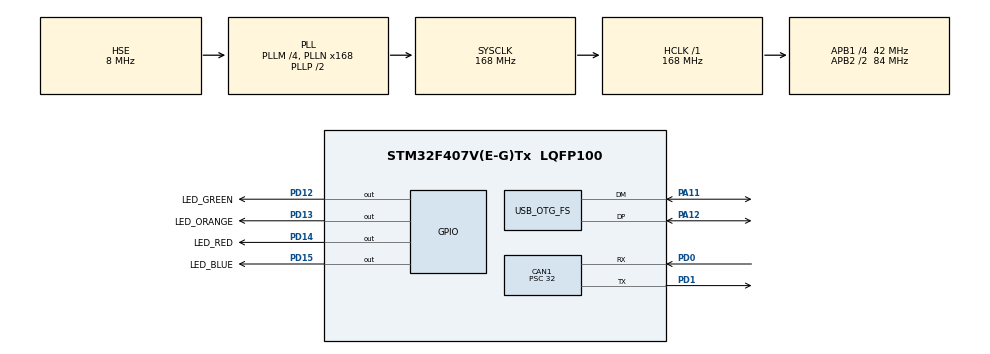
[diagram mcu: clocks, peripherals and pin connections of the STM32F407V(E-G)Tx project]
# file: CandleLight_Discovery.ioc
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CAN1.ABOM=ENABLE
CAN1.BS1=CAN_BS1_1TQ
CAN1.BS2=CAN_BS2_1TQ
CAN1.CalculateTimeQuantum=761.9047619047619
CAN1.Prescaler=32
CAN1.TXFP=ENABLE
Mcu.Family=STM32F4
Mcu.Name=STM32F407V(E-G)Tx
Mcu.Package=LQFP100
NVIC.CAN1_RX0_IRQn=true\:0\:0\:false\:false\:true\:true\:true
NVIC.CAN1_RX1_IRQn=true\:0\:0\:false\:false\:true\:true\:true
NVIC.CAN1_SCE_IRQn=true\:0\:0\:false\:false\:true\:true\:true
NVIC.CAN1_TX_IRQn=true\:0\:0\:false\:false\:true\:true\:true
NVIC.OTG_FS_IRQn=true\:0\:0\:false\:false\:true\:true\:true
NVIC.PriorityGroup=NVIC_PRIORITYGROUP_4
PA11.Mode=Device_Only
PA11.Signal=USB_OTG_FS_DM
PA12.Mode=Device_Only
PA12.Signal=USB_OTG_FS_DP
PA13.Mode=Serial_Wire
PA13.Signal=SYS_JTMS-SWDIO
PA14.Mode=Serial_Wire
PA14.Signal=SYS_JTCK-SWCLK
PD0.Mode=Master
PD0.Signal=CAN1_RX
PD1.Mode=Master
PD1.Signal=CAN1_TX
PD12.GPIO_Label=LED_GREEN
PD12.Signal=GPIO_Output
PD13.GPIO_Label=LED_ORANGE
PD13.Signal=GPIO_Output
PD14.GPIO_Label=LED_RED
PD14.Signal=GPIO_Output
PD15.GPIO_Label=LED_BLUE
PD15.Signal=GPIO_Output
PH0-OSC_IN.Mode=HSE-External-Oscillator
PH0-OSC_IN.Signal=RCC_OSC_IN
PH1-OSC_OUT.Mode=HSE-External-Oscillator
PH1-OSC_OUT.Signal=RCC_OSC_OUT
ProjectManager.HeapSize=0x0
ProjectManager.StackSize=0x800
ProjectManager.TargetToolchain=STM32CubeIDE
RCC.48MHZClocksFreq_Value=48000000
RCC.AHBFreq_Value=168000000
RCC.APB1CLKDivider=RCC_HCLK_DIV4
RCC.APB1Freq_Value=42000000
RCC.APB1TimFreq_Value=84000000
RCC.APB2CLKDivider=RCC_HCLK_DIV2
RCC.APB2Freq_Value=84000000
RCC.APB2TimFreq_Value=168000000
RCC.CortexFreq_Value=168000000
RCC.HCLKFreq_Value=168000000
RCC.HSE_VALUE=8000000
RCC.HSI_VALUE=16000000
RCC.LSE_VALUE=32768
RCC.PLLM=4
RCC.PLLN=168
RCC.PLLQ=7
RCC.SYSCLKFreq_VALUE=168000000
RCC.SYSCLKSource=RCC_SYSCLKSOURCE_PLLCLK
RCC.VCOOutputFreq_Value=336000000
TIM2.AutoReloadPreload=TIM_AUTORELOAD_PRELOAD_ENABLE
TIM2.Period=0
TIM2.Prescaler=83
USB_DEVICE.CLASS_NAME_FS=CDC
USB_DEVICE.USBD_SELF_POWERED-CDC_FS=0
USB_DEVICE.VirtualMode-CDC_FS=Cdc
USB_DEVICE.VirtualModeFS=Cdc_FS
USB_OTG_FS.VirtualMode=Device_Only
VP_TIM2_VS_ClockSourceINT.Mode=Internal
VP_USB_DEVICE_VS_USB_DEVICE_CDC_FS.Mode=CDC_FS
board=custom

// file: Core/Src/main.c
/* USER CODE BEGIN Header */
/**
  ******************************************************************************
  * @file           : main.c
  * @brief          : Main program body
  ******************************************************************************
  * @attention
  *
  * <h2><center>&copy; Copyright (c) 2020 STMicroelectronics.
  * All rights reserved.</center></h2>
  *
  * This software component is licensed by ST under BSD 3-Clause license,
  * the "License"; You may not use this file except in compliance with the
  * License. You may obtain a copy of the License at:
  *                        opensource.org/licenses/BSD-3-Clause
  *
  ******************************************************************************
  */
/* USER CODE END Header */
#include "main.h"
#include "can.h"
#include "tim.h"
#include "gpio.h"

/* USER CODE BEGIN Includes */
#include "usbd_def.h"
#include "usbd_desc.h"
#include "usbd_core.h"
#include "usbd_gs_can.h"
#include "queue.h"
#include "gs_usb.h"
#include "led.h"
/* USER CODE END Includes */

/* USER CODE BEGIN PD */
#define CAN_QUEUE_SIZE  64u
/* USER CODE END PD */

/* USER CODE BEGIN PV */
can_data_t hCAN;
USBD_HandleTypeDef hUSB;
led_data_t hLED;

queue_t *q_frame_pool;
queue_t *q_from_host;
queue_t *q_to_host;

uint32_t received_count=0;
/* USER CODE END PV */

void SystemClock_Config(void);
/* USER CODE BEGIN PFP */
static bool send_to_host_or_enqueue(struct gs_host_frame *frame);
static void send_to_host();

/* USER CODE END PFP */

int main(void)
{
  /* USER CODE BEGIN 1 */
	uint32_t last_can_error_status = 0;

  /* USER CODE END 1 */

  /* MCU Configuration--------------------------------------------------------*/

  /* Reset of all peripherals, Initializes the Flash interface and the Systick. */
  HAL_Init();

  /* Configure the system clock */
  SystemClock_Config();

  /* Initialize all configured peripherals */
  MX_GPIO_Init();
  MX_CAN1_Init();
  MX_TIM2_Init();
  /* USER CODE BEGIN 2 */

  led_init(&hLED, LED_BLUE_GPIO_Port, LED_BLUE_Pin, true, LED_RED_GPIO_Port, LED_RED_Pin, true);
	led_set_mode(&hLED, led_mode_off);

  can_init(&hCAN, CAN1);
	can_disable(&hCAN);

  q_frame_pool = queue_create(CAN_QUEUE_SIZE);
	q_from_host  = queue_create(CAN_QUEUE_SIZE);
	q_to_host    = queue_create(CAN_QUEUE_SIZE);

	struct gs_host_frame *msgbuf = calloc(CAN_QUEUE_SIZE, sizeof(struct gs_host_frame));
	for (unsigned i=0; i<CAN_QUEUE_SIZE; i++) {
		queue_push_back(q_frame_pool, &msgbuf[i]);
	}

  USBD_Init(&hUSB, &FS_Desc, DEVICE_FS);
	USBD_RegisterClass(&hUSB, &USBD_GS_CAN);
	USBD_GS_CAN_Init(&hUSB, q_frame_pool, q_from_host, &hLED);
	USBD_GS_CAN_SetChannel(&hUSB, 0, &hCAN);
	USBD_Start(&hUSB);

  timer_start();

  /* USER CODE END 2 */

  /* Infinite loop */
  /* USER CODE BEGIN WHILE */
  while (1)
  {
    struct gs_host_frame *frame = queue_pop_front(q_from_host);
		if (frame != 0) { // send can message from host
			if (can_send(&hCAN, frame)) {
				// Echo sent frame back to host
				frame->timestamp_us = timer_get();
				send_to_host_or_enqueue(frame);

				led_indicate_trx(&hLED, led_2);
			} else {
				queue_push_front(q_from_host, frame); // retry later
			}
		}

		if (USBD_GS_CAN_TxReady(&hUSB)) {
			send_to_host();
		}

		if (can_is_rx_pending(&hCAN)) {
			struct gs_host_frame *frame = queue_pop_front(q_frame_pool);
			if (frame != 0)
			{
				if (can_receive(&hCAN, frame)) {
					received_count++;

					frame->timestamp_us = timer_get();
					frame->echo_id = 0xFFFFFFFF; // not a echo frame
					frame->channel = 0;
					frame->flags = 0;
					frame->reserved = 0;

					send_to_host_or_enqueue(frame);

					led_indicate_trx(&hLED, led_1);
				}
				else
				{
					queue_push_back(q_frame_pool, frame);
				}
			}
		}

		uint32_t can_err = can_get_error_status(&hCAN);
		if (can_err != last_can_error_status) {
			struct gs_host_frame *frame = queue_pop_front(q_frame_pool);
			if (frame != 0) {
				frame->timestamp_us = timer_get();
				if (can_parse_error_status(can_err, frame)) {
					send_to_host_or_enqueue(frame);
					last_can_error_status = can_err;
				} else {
					queue_push_back(q_frame_pool, frame);
				}

			}
		}

		led_update(&hLED);

		// if (USBD_GS_CAN_DfuDetachRequested(&hUSB)) {
		// 	dfu_run_bootloader();
		// }

    /* USER CODE END WHILE */

  }
}

void SystemClock_Config(void)
{
  RCC_OscInitTypeDef RCC_OscInitStruct = {0};
  RCC_ClkInitTypeDef RCC_ClkInitStruct = {0};

  /** Configure the main internal regulator output voltage
  */
  __HAL_RCC_PWR_CLK_ENABLE();
  __HAL_PWR_VOLTAGESCALING_CONFIG(PWR_REGULATOR_VOLTAGE_SCALE1);
  /** Initializes the RCC Oscillators according to the specified parameters
  * in the RCC_OscInitTypeDef structure.
  */
  RCC_OscInitStruct.OscillatorType = RCC_OSCILLATORTYPE_HSE;
  RCC_OscInitStruct.HSEState = RCC_HSE_ON;
  RCC_OscInitStruct.PLL.PLLState = RCC_PLL_ON;
  RCC_OscInitStruct.PLL.PLLSource = RCC_PLLSOURCE_HSE;
  RCC_OscInitStruct.PLL.PLLM = 4;
  RCC_OscInitStruct.PLL.PLLN = 168;
  RCC_OscInitStruct.PLL.PLLP = RCC_PLLP_DIV2;
  RCC_OscInitStruct.PLL.PLLQ = 7;
  if (HAL_RCC_OscConfig(&RCC_OscInitStruct) != HAL_OK)
  {
    Error_Handler();
  }
  /** Initializes the CPU, AHB and APB buses clocks
  */
  RCC_ClkInitStruct.ClockType = RCC_CLOCKTYPE_HCLK|RCC_CLOCKTYPE_SYSCLK
                              |RCC_CLOCKTYPE_PCLK1|RCC_CLOCKTYPE_PCLK2;
  RCC_ClkInitStruct.SYSCLKSource = RCC_SYSCLKSOURCE_PLLCLK;
  RCC_ClkInitStruct.AHBCLKDivider = RCC_SYSCLK_DIV1;
  RCC_ClkInitStruct.APB1CLKDivider = RCC_HCLK_DIV4;
  RCC_ClkInitStruct.APB2CLKDivider = RCC_HCLK_DIV2;

  if (HAL_RCC_ClockConfig(&RCC_ClkInitStruct, FLASH_LATENCY_5) != HAL_OK)
  {
    Error_Handler();
  }
}

/* USER CODE BEGIN 4 */

bool send_to_host_or_enqueue(struct gs_host_frame *frame)
{
	if (USBD_GS_CAN_GetProtocolVersion(&hUSB) == 2) {
		queue_push_back(q_to_host, frame);
		return true;

	} else {
		bool retval = false;
		if ( USBD_GS_CAN_SendFrame(&hUSB, frame) == USBD_OK ) {
			queue_push_back(q_frame_pool, frame);
			retval = true;
		} else {
			queue_push_back(q_to_host, frame);
		}
		return retval;
	}
}

void send_to_host()
{
	struct gs_host_frame *frame = queue_pop_front(q_to_host);

	if(!frame)
	  return;

	if (USBD_GS_CAN_SendFrame(&hUSB, frame) == USBD_OK) {
		queue_push_back(q_frame_pool, frame);
	} else {
		queue_push_front(q_to_host, frame);
	}
}

/* USER CODE END 4 */

void Error_Handler(void)
{
}

/************************ (C) COPYRIGHT STMicroelectronics *****END OF FILE****/
